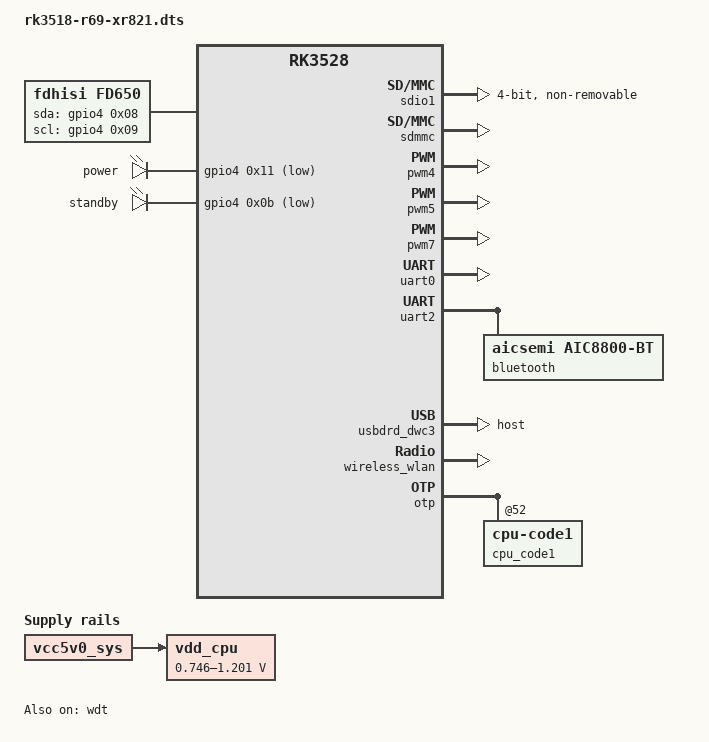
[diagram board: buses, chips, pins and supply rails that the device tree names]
// SPDX-License-Identifier: (GPL-2.0+ OR MIT)
/*
 * R69 TV box (PCB silkscreen XR821_V1.1) — Rockchip RK3518, RK3528 family.
 *
 * The vendor derived this box from Rockchip's EVB1 DDR4 V10 reference design and its
 * compatible still says so, so this includes that board and overrides what differs.
 *
 * Checked against the box's own factory device tree, carved from its eMMC: this file
 * compiles to a tree content-identical to that blob plus the changes below. The
 * overrides that follow are the box's own hardware, and carry no reasons because the
 * blob carries none; these are the deliberate departures from it.
 *
 *   compatible         board name first; rk3528a last, as rkmpp has no rk3518 entry
 *                      and cannot otherwise find the VPU
 *   model              name the box, keeping the vendor string
 *   gpu@ff700000       interrupt-names and clocks in the form mainline lima expects,
 *                      not the vendor Mali blob's
 *   serial@ff9f0000    enabled with uart0m0_xfer, for the ttyS0 console
 *   uart2              bluetooth serdev child, aicsemi,aic8800-bt
 *   pwm@ffa90030       remote_support_psci 0 -> 1, so the remote wakes the box
 *   watchdog@ffac0000  enabled, for systemd's RuntimeWatchdogSec
 *   leds               power/standby labels, active-low, and retain-state-* in place
 *                      of the vendor's invert-on-shutdown
 *   chosen             dropped; u-boot supplies bootargs, and the vendor string names
 *                      ttyFIQ0
 *   fiq-debugger       disabled; it owns ff9f0000 otherwise
 */
/dts-v1/;
#include "rk3528-evb1-ddr4-v10.dtsi"
#include "rk3528-linux.dtsi"

/* nodes the reference board has and this box does not */
/delete-node/ &chosen;
/delete-node/ &{/cpu0-opp-table/opp-1008000000};
/delete-node/ &{/cpu0-opp-table/opp-1608000000};
/delete-node/ &{/cpu0-opp-table/opp-1800000000};
/delete-node/ &{/cpu0-opp-table/opp-2016000000};
/delete-node/ &{/cpu0-opp-table/opp-408000000};
/delete-node/ &{/cpu0-opp-table/opp-600000000};
/delete-node/ &{/cpu0-opp-table/opp-816000000};
/delete-node/ &{/dmc-opp-table/opp-920000000};
/delete-node/ &rgmii_phy;
/delete-node/ &{/gpu-opp-table/opp-300000000};
/delete-node/ &{/gpu-opp-table/opp-500000000};
/delete-node/ &{/gpu-opp-table/opp-600000000};
/delete-node/ &pcie2x1;
/delete-node/ &uart2m1_gpios;
/delete-node/ &vdd_cpu;
/delete-node/ &vdd_gpu;
/delete-node/ &vdd_logic;

&{/} {
	compatible = "r69-xr821,rk3518-tvbox", "rockchip,rk3518-evb1-ddr4-v10", "rockchip,rk3518", "rockchip,rk3528a";
	model = "R69 XR821_V1.1 (Rockchip RK3518 EVB1 DDR4 V10 Board)";
};

&{/aliases} {
	/delete-property/ ethernet1;
};

&cpu0_opp_table {
	rockchip,pvtm-voltage-sel = <0x00 0x58c 0x00 0x582 0x5a4 0x01 0x5a5 0x5c2 0x02 0x5c3 0x5e5 0x03 0x5e6 0x608 0x04 0x609 0x62b 0x05 0x62c 0x653 0x06 0x654 0x699 0x07 0x69a 0x6d0 0x08 0x6d1 0x707 0x09 0x708 0x270f 0x0a>;
	rockchip,pvtm-freq = <0x159b40>;
	rockchip,pvtm-volt = <0xe7ef0>;
	rockchip,video-1080p-freq = <0x124f80>;
};

&{/cpu0-opp-table/opp-1200000000} {
	/delete-property/ opp-microvolt-L0;
	/delete-property/ opp-microvolt-L1;
	/delete-property/ opp-microvolt-L2;
	/delete-property/ opp-microvolt-L3;
	/delete-property/ opp-microvolt-L4;
	/delete-property/ opp-microvolt-L5;
	/delete-property/ opp-microvolt-L6;
	opp-microvolt = <0xdbba0 0xdbba0 0xf4240>;
};

&{/cpu0-opp-table/opp-1416000000} {
	/delete-property/ opp-microvolt-L10;
	/delete-property/ opp-microvolt-L11;
	/delete-property/ opp-microvolt-L5;
	/delete-property/ opp-microvolt-L6;
	/delete-property/ opp-microvolt-L7;
	/delete-property/ opp-microvolt-L8;
	/delete-property/ opp-microvolt-L9;
	opp-microvolt = <0xdbba0 0xdbba0 0xf4240>;
	opp-microvolt-L1 = <0xe7ef0 0xe7ef0 0xf4240>;
	opp-microvolt-L2 = <0xe4e1c 0xe4e1c 0xf4240>;
	opp-microvolt-L3 = <0xe1d48 0xe1d48 0xf4240>;
	opp-microvolt-L4 = <0xdec74 0xdec74 0xf4240>;
	opp-microvolt-L0 = <0xeafc4 0xeafc4 0xf4240>;
};

&{/cpuinfo} {
	nvmem-cells = <&otp_id &otp_cpu_version &cpu_code &cpu_code1>;
	nvmem-cell-names = "id", "cpu-version", "cpu-code", "cpu-code1";
};

&route_hdmi {
	logo,mode = "fullscreen";
	charge_logo,mode = "fullscreen";
};

&route_tve {
	logo,mode = "fullscreen";
	charge_logo,mode = "fullscreen";
};

&dmc {
	center-supply = <&vdd_cpu>;
};

&{/dmc-opp-table/opp-1056000000} {
	/delete-property/ opp-microvolt-L0;
	/delete-property/ opp-microvolt-L1;
	/delete-property/ opp-microvolt-L2;
	/delete-property/ opp-microvolt-L3;
	/delete-property/ opp-microvolt-L4;
	opp-microvolt = <0xdbba0 0xdbba0 0xf4240>;
};

&gmac1 {
	/delete-property/ clock_in_out;
	/delete-property/ phy-handle;
	/delete-property/ phy-mode;
	/delete-property/ pinctrl-0;
	/delete-property/ pinctrl-names;
	/delete-property/ snps,reset-active-low;
	/delete-property/ snps,reset-delays-us;
	/delete-property/ snps,reset-gpio;
	/delete-property/ tx_delay;
	status = "disabled";
};

&{/fiq-debugger} {
	status = "disabled";
};

&gpu_bus {
	/delete-property/ bus-supply;
	status = "disabled";
};

&gpu_opp_table {
	rockchip,pvtm-voltage-sel = <0x00 0x329 0x00 0x32a 0x33e 0x01 0x33f 0x352 0x02 0x353 0x370 0x03 0x371 0x37a 0x04 0x37b 0x38e 0x05 0x38f 0x3a2 0x06 0x3a3 0x3b6 0x07 0x3b7 0x3ca 0x08 0x3cb 0x3e3 0x09 0x3e8 0x270f 0x0a>;
	rockchip,pvtm-volt = <0xe7ef0>;
};

&{/gpu-opp-table/opp-700000000} {
	/delete-property/ clock-latency-ns;
	/delete-property/ opp-microvolt-L1;
	/delete-property/ opp-microvolt-L2;
	/delete-property/ opp-microvolt-L3;
	/delete-property/ opp-microvolt-L4;
	/delete-property/ opp-microvolt-L5;
	/delete-property/ opp-microvolt-L6;
	/delete-property/ opp-microvolt-L7;
	/delete-property/ opp-microvolt-L8;
};

&{/gpu-opp-table/opp-800000000} {
	/delete-property/ clock-latency-ns;
	/delete-property/ opp-microvolt-L6;
	/delete-property/ opp-microvolt-L7;
	/delete-property/ opp-microvolt-L8;
	opp-microvolt = <0xdbba0 0xdbba0 0xf4240>;
	opp-microvolt-L1 = <0xe7ef0 0xe7ef0 0xf4240>;
	opp-microvolt-L2 = <0xe4e1c 0xe4e1c 0xf4240>;
	opp-microvolt-L3 = <0xe1d48 0xe1d48 0xf4240>;
	opp-microvolt-L4 = <0xdec74 0xdec74 0xf4240>;
	opp-microvolt-L5 = <0xdbba0 0xdbba0 0xf4240>;
	opp-microvolt-L0 = <0xeafc4 0xeafc4 0xf4240>;
};

&gpu {
	mali-supply = <&vdd_cpu>;
};

&hdmi {
	rockchip,cts-manual;
};

&i2c6 {
	status = "disabled";
};

&sdhci {
	/delete-property/ mmc-hs400-1_8v;
	/delete-property/ mmc-hs400-enhanced-strobe;
	max-frequency = <0x5f5e100>;
	mmc-hs200-1_8v;
	mmc-hs200-enhanced-strobe;
};

&sdio0 {
	/delete-property/ bus-width;
	/delete-property/ cap-sd-highspeed;
	/delete-property/ cap-sdio-irq;
	/delete-property/ disable-wp;
	/delete-property/ keep-power-in-suspend;
	/delete-property/ mmc-pwrseq;
	/delete-property/ no-mmc;
	/delete-property/ no-sd;
	/delete-property/ non-removable;
	/delete-property/ pinctrl-0;
	/delete-property/ pinctrl-names;
	/delete-property/ sd-uhs-sdr104;
	/delete-property/ supports-sdio;
	max-frequency = <0x8f0d180>;
	status = "disabled";
};

&sdio1 {
	max-frequency = <0x5f5e100>;
	status = "okay";
	no-sd;
	no-mmc;
	supports-sdio;
	bus-width = <0x04>;
	disable-wp;
	cap-sd-highspeed;
	cap-sdio-irq;
	keep-power-in-suspend;
	non-removable;
	mmc-pwrseq = <&sdio_pwrseq>;
	pinctrl-names = "default";
	pinctrl-0 = <&sdio1_bus4 &sdio1_cmd &sdio1_clk>;
	sd-uhs-sdr104;
};

&sdmmc {
	/delete-property/ rockchip,default-sample-phase;
	/delete-property/ sd-uhs-sdr104;
	/delete-property/ sd-uhs-sdr12;
	/delete-property/ sd-uhs-sdr25;
	/delete-property/ sd-uhs-sdr50;
	/delete-property/ vqmmc-supply;
	status = "okay";
};

&mpp_srv {
	rockchip,iommu-shared-mask = <0x420a>;
};

&wifi_32k {
	rockchip,pins = <0x03 0x13 0x01 &pcfg_pull_none>;
};

&wifi_enable_h {
	rockchip,pins = <0x03 0x0a 0x00 &pcfg_pull_none>;
};

&wifi_host_wake_irq {
	rockchip,pins = <0x03 0x0b 0x00 &pcfg_pull_down>;
};

&pwm3 {
	remote_support_psci = <0x01>;
};

&{/pwm@ffa90030/ir_key1} {
	rockchip,usercode = <0xfb05>;
	rockchip,key_table = <0xbb 0x1c 0xe5 0x9e 0x5b 0x8a 0x4d 0x8d 0xba 0x67 0xb9 0x6c 0xb8 0x69 0xb7 0x6a 0xd2 0x66 0xfd 0x73 0xfc 0x72 0xf7 0x74 0xf6 0x71 0xb5 0x8b 0xe4 0x0e 0xff 0x68 0xfe 0x6d 0xd0 0x184 0x04 0x40 0x14 0x41 0x4c 0x3d 0x4b 0x42>;
};

&{/pwm@ffa90030/ir_key2} {
	rockchip,usercode = <0xfe02>;
	rockchip,key_table = <0xec 0x1c 0xe6 0x9e 0xe9 0x67 0xe5 0x6c 0xae 0x69 0xaf 0x6a 0xee 0x66 0xe7 0x73 0xef 0x72 0xbf 0x74 0xbe 0x44 0xff 0x8b 0xbd 0x0e 0xbc 0xda 0xf0 0x8c 0xb3 0x184 0xb1 0x02 0xf2 0x03 0xf3 0x04 0xb5 0x05 0xf6 0x06 0xf7 0x07 0xb9 0x08 0xfa 0x09 0xfb 0x0a 0xb4 0xa5 0xb0 0xa3 0xfd 0xb7 0xdb 0xb4 0xd9 0xb5 0xf8 0xb6 0xfe 0x0b>;
};

&{/pwm@ffa90030/ir_key3} {
	rockchip,usercode = <0xfe01>;
	rockchip,key_table = <0xfd 0xb7 0xf8 0xb6 0xde 0xb4 0xda 0x01 0xfa 0x04>;
};

&pwm4 {
	status = "okay";
};

&pwm5 {
	status = "okay";
};

&pwm7 {
	status = "okay";
};

&sai3 {
	assigned-clocks = <&cru 0x184>;
	assigned-clock-rates = <0x5dc000>;
	rockchip,always-on;
};

&sai1 {
	status = "disabled";
};

&sdio_pwrseq {
	reset-gpios = <&gpio3 0x0a 0x01>;
};

&uart0 {
	status = "okay";
	pinctrl-names = "default";
	pinctrl-0 = <&uart0m0_xfer>;
};

&uart2 {
	pinctrl-0 = <&uart2m0_xfer &uart2m0_ctsn>;
};

&usbdrd_dwc3 {
	dr_mode = "host";
};

&vcc5v0_otg {
	gpio = <&gpio4 0x12 0x00>;
};

&vop {
	esmart_lb_mode = [03];
	support-multi-area;
};

&wdt {
	status = "okay";
};

&wireless_bluetooth {
	/delete-property/ BT,wake_host_irq;
	uart_rts_gpios = <&gpio3 0x02 0x01>;
	pinctrl-0 = <&uart2m0_rtsn>;
	pinctrl-1 = <&uart2m0_gpios>;
	BT,reset_gpio = <&gpio3 0x11 0x00>;
	BT,wake_gpio = <&gpio3 0x0c 0x00>;
};

&wireless_wlan {
	wifi_chip_type = "AIC8800";
	WIFI,host_wake_irq = <0xa8 0x0b 0x00>;
};

&dmc_opp_table {
	opp-324000000 {
		opp-hz = <0x00 0x134fd900>;
		opp-microvolt = <0xdbba0 0xdbba0 0xf4240>;
	};
};

&dmc_opp_table {
	opp-666000000 {
		opp-hz = <0x00 0x27b25a80>;
		opp-microvolt = <0xdbba0 0xdbba0 0xf4240>;
	};
};

&dmc_opp_table {
	opp-780000000 {
		opp-hz = <0x00 0x2e7ddb00>;
		opp-microvolt = <0xdbba0 0xdbba0 0xf4240>;
	};
};

&{/} {
	fd650 {
		compatible = "fdhisi,fd650";
		sda-gpio = <&gpio4 0x08 0x00>;
		scl-gpio = <&gpio4 0x09 0x00>;
		status = "okay";
	};
};

&{/} {
	leds {
		compatible = "gpio-leds";
		power_led: power {
			label = "power";
			gpios = <&gpio4 0x11 0x01>;
			default-state = "on";
			retain-state-shutdown;
			retain-state-suspended;
		};
		standby_led: standby {
			label = "standby";
			gpios = <&gpio4 0x0b 0x01>;
			default-state = "off";
			retain-state-shutdown;
			retain-state-suspended;
		};
	};
};

&otp {
	cpu_code1: cpu-code1@52 {
		reg = <0x52 0x02>;
	};
};

&pinctrl {
	leds {
		led_power_pin: led-power-pin {
			rockchip,pins = <0x04 0x0b 0x00 &pcfg_pull_none>;
		};
	};
};

&{/pinctrl/wireless-bluetooth} {
	uart2m0_gpios: uart2m0-gpios {
		rockchip,pins = <0x03 0x02 0x00 &pcfg_pull_none>;
	};
};

&reserved_memory {
	cma {
		compatible = "shared-dma-pool";
		reusable;
		size = <0x00 0x800000>;
		linux,cma-default;
	};
};

&uart2 {
	bluetooth {
		compatible = "aicsemi,aic8800-bt";
		max-speed = <0x16e360>;
	};
};

&{/} {
	vdd_cpu: vdd_logic: vdd_gpu: vdd-cpu {
		compatible = "pwm-regulator";
		pwms = <&pwm1 0x00 0x1388 0x01>;
		regulator-name = "vdd_cpu";
		regulator-min-microvolt = <0xb6210>;
		regulator-max-microvolt = <0x125368>;
		regulator-init-microvolt = <0xe8aa8>;
		regulator-always-on;
		regulator-boot-on;
		regulator-settling-time-up-us = <0xfa>;
		pwm-supply = <&vcc5v0_sys>;
		status = "okay";
	};
};
